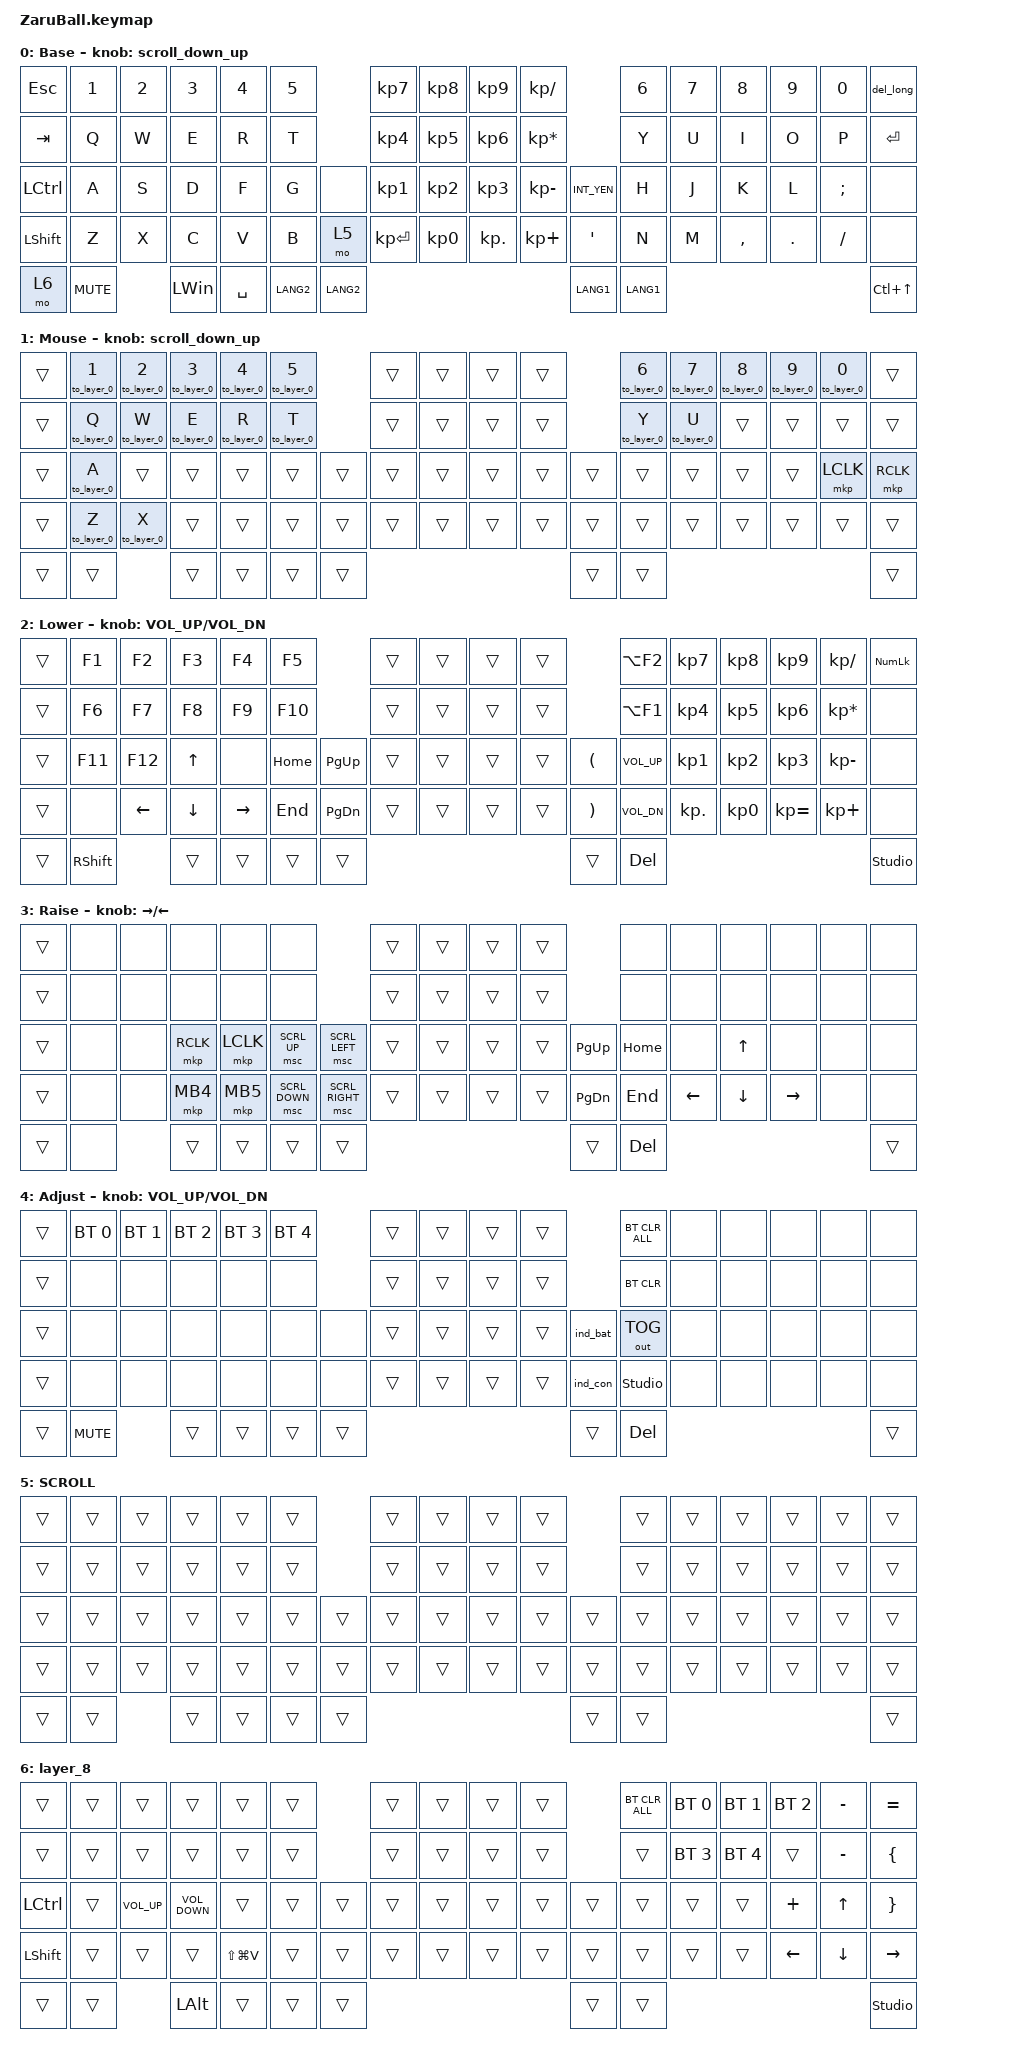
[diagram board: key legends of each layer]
//#include <dt-bindings/zmk/mouse.h>

#include <behaviors/rgbled_widget.dtsi>
#include <input/processors.dtsi>
#include <dt-bindings/zmk/input_transform.h>
#include <behaviors.dtsi>
#include <dt-bindings/zmk/bt.h>
#include <dt-bindings/zmk/keys.h>
#include <dt-bindings/zmk/outputs.h>
#include <dt-bindings/zmk/pointing.h>

#define BASE     0
#define MOUSE    1
#define LOWER    2
#define RAISE    3
#define ADJUST   4
#define SCROLL   5
#define LAYER_8  6

// スクロール量の設定

#define ZMK_POINTING_DEFAULT_SCRL_VAL 100

&trackball_listener {
    input-processors = <
                         &zip_xy_transform (INPUT_TRANSFORM_XY_SWAP | INPUT_TRANSFORM_Y_INVERT | INPUT_TRANSFORM_X_INVERT)
                         &zip_temp_layer MOUSE 2500
    >;

    scroller {
        layers = <5>;
        input-processors = <
                            &zip_xy_transform (INPUT_TRANSFORM_XY_SWAP | INPUT_TRANSFORM_X_INVERT)
                            &zip_xy_scaler 1 20
                            &zip_xy_to_scroll_mapper
        >;
    };
};

/ {
    conditional_layers {
        compatible = "zmk,conditional-layers";

        tri_layer {
            if-layers = <2 3>;
            then-layer = <4>;
        };
    };
};

/ {
    behaviors {
        // スクロール用のbehaviorの設定

        scroll_down_up: behavior_sensor_rotate_mouse_wheel_down_up {
            compatible = "zmk,behavior-sensor-rotate";
            #sensor-binding-cells = <0>;
            bindings = <&msc SCRL_DOWN>, <&msc SCRL_UP>;

            tap-ms = <20>; // スクロールのタップ時間
        };

        td0: tap_dance_0 {
            compatible = "zmk,behavior-tap-dance";
            #binding-cells = <0>;
            tapping-term-ms = <200>;
            bindings = <&mt LALT LANG2>, <&mo 3>, <&mo 1>;
        };

        td1: tap_dance_1 {
            compatible = "zmk,behavior-tap-dance";
            #binding-cells = <0>;
            tapping-term-ms = <200>;
            bindings = <&mt RCTL LANG1>, <&mo 3>, <&mo 1>;
        };

        // Customed Hold-Tap for SandS

        SandS: SandS {
            compatible = "zmk,behavior-hold-tap";
            #binding-cells = <2>;
            flavor = "tap-unless-interrupted";
            tapping-term-ms = <500>;
            quick-tap-ms = <500>;
            bindings = <&kp>, <&kp>;

            display-name = "SandS";
        };

        del_long: del_long {
            compatible = "zmk,behavior-mod-morph";
            label = "DEL_LONG";
            bindings = <&kp BACKSPACE>, <&kp MINUS>;

            #binding-cells = <0>;
            mods = <(MOD_LSFT|MOD_RSFT)>;
        };
    };
};

&sl { release-after-ms = <250>; }; // time needed for double click (for mkp_exit_AML)
/ {
    macros {
        // When in AML, move to default layer when key (except mouse button) pressed

        to_layer_0: to_layer_0 {
            compatible = "zmk,behavior-macro-one-param";
            #binding-cells = <1>;
            bindings = <&tog 1 &macro_param_1to1 &kp MACRO_PLACEHOLDER>;
            label = "TO_layer_0";
        };

        // When LCLK pressed, exit AML (after 250ms cause by sticky layer

        mkp_exit_AML: mkp_exit_AML {
            compatible = "zmk,behavior-macro-one-param";
            #binding-cells = <1>;
            bindings =
                <&macro_press>,
                <&macro_param_1to1 &mkp MACRO_PLACEHOLDER>,
                <&macro_pause_for_release>,
                <&macro_release>,
                <&macro_param_1to1 &mkp MACRO_PLACEHOLDER>,
                <&macro_tap>,
                <&sl 1>;

            label = "MKP_EXIT_AML";
        };
    };
};

/ {
    keymap {
        compatible = "zmk,keymap";

        base_layer {
            display-name = "Base";
            sensor-bindings = <&scroll_down_up>;
            bindings = <
&kp ESC    &kp N1      &kp N2  &kp N3    &kp N4     &kp N5                  &kp KP_N7     &kp KP_N8  &kp KP_N9   &kp KP_DIVIDE                        &kp NUMBER_6  &kp N7  &kp N8     &kp N9   &kp N0    &del_long
&kp TAB    &kp Q       &kp W   &kp E     &kp R      &kp T                   &kp KP_N4     &kp KP_N5  &kp KP_N6   &kp KP_MULTIPLY                      &kp Y         &kp U   &kp I      &kp O    &kp P     &kp RETURN
&kp LCTRL  &kp A       &kp S   &kp D     &kp F      &kp G      &none        &kp KP_N1     &kp KP_N2  &kp KP_N3   &kp KP_MINUS       &kp INT_YEN       &kp H         &kp J   &kp K      &kp L    &kp SEMI  &none
&kp LSHFT  &kp Z       &kp X   &kp C     &kp V      &kp B      &mo 5        &kp KP_ENTER  &kp KP_N0  &kp KP_DOT  &kp KP_PLUS        &kp SINGLE_QUOTE  &kp N         &kp M   &kp COMMA  &kp DOT  &kp FSLH  &none
&mo 6      &kp C_MUTE          &kp LWIN  &kp SPACE  &kp LANG2  &kp LANG2                                                            &kp LANG1         &kp LANG1                                           &kp LC(UP_ARROW)
            >;
        };

        mouse_layer {
            display-name = "Mouse";
            sensor-bindings = <&scroll_down_up>;
            bindings = <
&trans  &to_layer_0 N1  &to_layer_0 N2  &to_layer_0 N3  &to_layer_0 N4  &to_layer_0 N5            &trans  &trans  &trans  &trans            &to_layer_0 N6  &to_layer_0 N7  &to_layer_0 N8  &to_layer_0 N9  &to_layer_0 N0  &trans
&trans  &to_layer_0 Q   &to_layer_0 W   &to_layer_0 E   &to_layer_0 R   &to_layer_0 T             &trans  &trans  &trans  &trans            &to_layer_0 Y   &to_layer_0 U   &trans          &trans          &trans          &trans
&trans  &to_layer_0 A   &trans          &trans          &trans          &trans          &trans    &trans  &trans  &trans  &trans    &trans  &trans          &trans          &trans          &trans          &mkp LCLK       &mkp RCLK
&trans  &to_layer_0 Z   &to_layer_0 X   &trans          &trans          &trans          &trans    &trans  &trans  &trans  &trans    &trans  &trans          &trans          &trans          &trans          &trans          &trans
&trans  &trans                          &trans          &trans          &trans          &trans                                      &trans  &trans                                                                          &trans
            >;
        };

        lower_layer {
            display-name = "Lower";
            sensor-bindings = <&inc_dec_kp C_VOL_UP C_VOL_DN>;
            bindings = <
&trans  &kp F1     &kp F2    &kp F3    &kp F4     &kp F5                 &trans  &trans  &trans  &trans              &kp LA(F2)    &kp KP_N7   &kp KP_N8  &kp KP_N9     &kp KP_SLASH     &kp KP_NUMLOCK
&trans  &kp F6     &kp F7    &kp F8    &kp F9     &kp F10                &trans  &trans  &trans  &trans              &kp LA(F1)    &kp KP_N4   &kp KP_N5  &kp KP_N6     &kp KP_MULTIPLY  &none
&trans  &kp F11    &kp F12   &kp UP    &none      &kp HOME  &kp PG_UP    &trans  &trans  &trans  &trans    &kp LPAR  &kp C_VOL_UP  &kp KP_N1   &kp KP_N2  &kp KP_N3     &kp KP_MINUS     &none
&trans  &none      &kp LEFT  &kp DOWN  &kp RIGHT  &kp END   &kp PG_DN    &trans  &trans  &trans  &trans    &kp RPAR  &kp C_VOL_DN  &kp KP_DOT  &kp KP_N0  &kp KP_EQUAL  &kp KP_PLUS      &none
&trans  &kp RSHFT            &trans    &trans     &trans    &trans                                         &trans    &kp DEL                                                             &studio_unlock
            >;
        };

        raise_layer {
            display-name = "Raise";
            sensor-bindings = <&inc_dec_kp RIGHT LEFT>;
            bindings = <
&trans  &none  &none  &none      &none      &none                              &trans  &trans  &trans  &trans               &none     &none     &none     &none      &none  &none
&trans  &none  &none  &none      &none      &none                              &trans  &trans  &trans  &trans               &none     &none     &none     &none      &none  &none
&trans  &none  &none  &mkp RCLK  &mkp LCLK  &msc SCRL_UP    &msc SCRL_LEFT     &trans  &trans  &trans  &trans    &kp PG_UP  &kp HOME  &none     &kp UP    &none      &none  &none
&trans  &none  &none  &mkp MB4   &mkp MB5   &msc SCRL_DOWN  &msc SCRL_RIGHT    &trans  &trans  &trans  &trans    &kp PG_DN  &kp END   &kp LEFT  &kp DOWN  &kp RIGHT  &none  &none
&trans  &none         &trans     &trans     &trans          &trans                                               &trans     &kp DEL                                         &trans
            >;
        };

        adjust_layer {
            display-name = "Adjust";
            sensor-bindings = <&inc_dec_kp C_VOL_UP C_VOL_DN>;
            bindings = <
&trans  &bt BT_SEL 0  &bt BT_SEL 1  &bt BT_SEL 2  &bt BT_SEL 3  &bt BT_SEL 4            &trans  &trans  &trans  &trans              &bt BT_CLR_ALL  &none  &none  &none  &none  &none
&trans  &none         &none         &none         &none         &none                   &trans  &trans  &trans  &trans              &bt BT_CLR      &none  &none  &none  &none  &none
&trans  &none         &none         &none         &none         &none         &none     &trans  &trans  &trans  &trans    &ind_bat  &out OUT_TOG    &none  &none  &none  &none  &none
&trans  &none         &none         &none         &none         &none         &none     &trans  &trans  &trans  &trans    &ind_con  &studio_unlock  &none  &none  &none  &none  &none
&trans  &kp C_MUTE                  &trans        &trans        &trans        &trans                                      &trans    &kp DEL                                     &trans
            >;
        };

        // Extra layer can be added in ZMK STUDIO

        SCROLL {
            bindings = <
&trans  &trans  &trans  &trans  &trans  &trans            &trans  &trans  &trans  &trans            &trans  &trans  &trans  &trans  &trans  &trans
&trans  &trans  &trans  &trans  &trans  &trans            &trans  &trans  &trans  &trans            &trans  &trans  &trans  &trans  &trans  &trans
&trans  &trans  &trans  &trans  &trans  &trans  &trans    &trans  &trans  &trans  &trans    &trans  &trans  &trans  &trans  &trans  &trans  &trans
&trans  &trans  &trans  &trans  &trans  &trans  &trans    &trans  &trans  &trans  &trans    &trans  &trans  &trans  &trans  &trans  &trans  &trans
&trans  &trans          &trans  &trans  &trans  &trans                                      &trans  &trans                                  &trans
            >;
        };

        layer_8 {
            bindings = <
&trans          &trans  &trans           &trans             &trans         &trans            &trans  &trans  &trans  &trans            &bt BT_CLR_ALL  &bt BT_SEL 0  &bt BT_SEL 1  &bt BT_SEL 2    &kp MINUS       &kp EQUAL
&trans          &trans  &trans           &trans             &trans         &trans            &trans  &trans  &trans  &trans            &trans          &bt BT_SEL 3  &bt BT_SEL 4  &trans          &kp MINUS       &kp LEFT_BRACE
&kp LCTRL       &trans  &kp C_VOLUME_UP  &kp C_VOLUME_DOWN  &trans         &trans  &trans    &trans  &trans  &trans  &trans    &trans  &trans          &trans        &trans        &kp PLUS        &kp UP_ARROW    &kp RIGHT_BRACE
&kp LEFT_SHIFT  &trans  &trans           &trans             &kp LS(LG(V))  &trans  &trans    &trans  &trans  &trans  &trans    &trans  &trans          &trans        &trans        &kp LEFT_ARROW  &kp DOWN_ARROW  &kp RIGHT
&trans          &trans                   &kp LEFT_ALT       &trans         &trans  &trans                                      &trans  &trans                                                                      &studio_unlock
            >;
        };
    };
};
